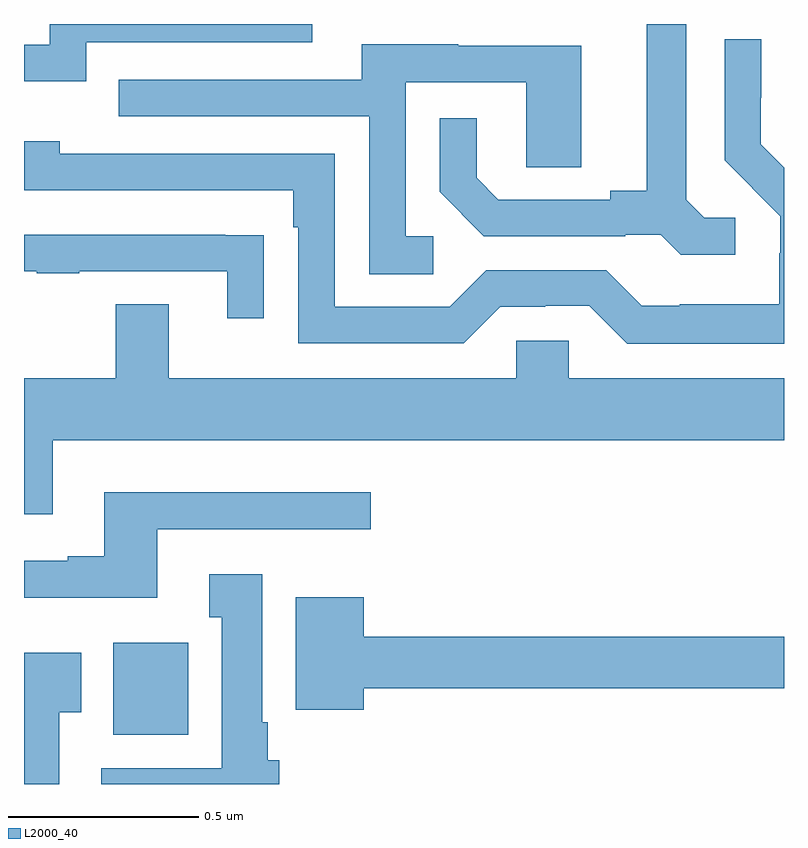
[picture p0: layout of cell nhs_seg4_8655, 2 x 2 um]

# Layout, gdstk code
import gdstk
lib = gdstk.Library(unit=1e-6, precision=1e-09)
def R(c, l, rs):  # rectangles x0, y0, x1, y1
    for r in rs: c.add(gdstk.rectangle(r[:2], r[2:], *l))
def P(c, l, *ps):  # polygons
    for p in ps: c.add(gdstk.Polygon(p, *l))
L2000_40 = (2000, 40)

nhs_seg4_8655 = lib.new_cell('nhs_seg4_8655')
R(nhs_seg4_8655, L2000_40, [(217.235,812.03,217.432,812.272)])
P(nhs_seg4_8655, L2000_40, [(217.164,813.852),(217.759,813.852),(217.759,813.9),(217.068,813.9),(217.068,813.846),(217,813.846),(217,813.749),(217.164,813.749)],
  [(218.872,813.39),(218.79,813.39),(218.743,813.437),(218.743,813.9),(218.639,813.9),(218.639,813.461),(218.543,813.461),(218.543,813.438),(218.248,813.438),(218.191,813.495),(218.191,813.652),(218.094,813.652),(218.094,813.458),(218.21,813.342),(218.582,813.342),(218.582,813.345),(218.676,813.345),(218.728,813.293),(218.872,813.293)],
  [(219,813.522),(218.939,813.584),(218.939,813.706),(218.94,813.706),(218.94,813.86),(218.844,813.86),(218.844,813.542),(218.917,813.469),(218.916,813.468),(218.99,813.394),(218.99,813.297),(218.988,813.297),(218.988,813.163),(218.725,813.163),(218.725,813.159),(218.625,813.159),(218.532,813.252),(218.217,813.252),(218.121,813.156),(217.818,813.156),(217.818,813.558),(217.094,813.558),(217.094,813.592),(217,813.592),(217,813.462),(217.709,813.462),(217.709,813.365),(217.722,813.365),(217.722,813.06),(218.157,813.06),(218.253,813.156),(218.372,813.156),(218.372,813.159),(218.487,813.159),(218.587,813.059),(219,813.059)],
  [(218.077,813.342),(218.004,813.342),(218.004,813.747),(218.322,813.747),(218.322,813.523),(218.467,813.523),(218.467,813.843),(218.143,813.843),(218.143,813.847),(217.889,813.847),(217.889,813.753),(217.249,813.753),(217.249,813.657),(217.908,813.657),(217.908,813.241),(218.077,813.241)],
  [(217.631,813.344),(217.529,813.344),(217.529,813.345),(217,813.345),(217,813.249),(217.033,813.249),(217.033,813.244),(217.145,813.244),(217.145,813.249),(217.535,813.249),(217.535,813.126),(217.631,813.126)],
  [(217.075,812.804),(219,812.804),(219,812.968),(218.433,812.968),(218.433,813.066),(218.295,813.066),(218.295,812.968),(217.381,812.968),(217.381,813.163),(217.241,813.163),(217.241,812.968),(217,812.968),(217,812.61),(217.075,812.61)],
  [(217.351,812.571),(217.912,812.571),(217.912,812.668),(217.211,812.668),(217.211,812.5),(217.115,812.5),(217.115,812.487),(217,812.487),(217,812.39),(217.351,812.39)],
  [(217.672,811.962),(217.642,811.962),(217.642,812.062),(217.627,812.062),(217.627,812.452),(217.487,812.452),(217.487,812.339),(217.52,812.339),(217.52,811.942),(217.203,811.942),(217.203,811.9),(217.672,811.9)],
  [(217.894,812.152),(219,812.152),(219,812.288),(217.894,812.288),(217.894,812.392),(217.715,812.392),(217.715,812.096),(217.894,812.096)],
  [(217.093,812.089),(217.15,812.089),(217.15,812.245),(217,812.245),(217,811.9),(217.093,811.9)])

lib.write_gds('nhs_seg4_8655.gds')
